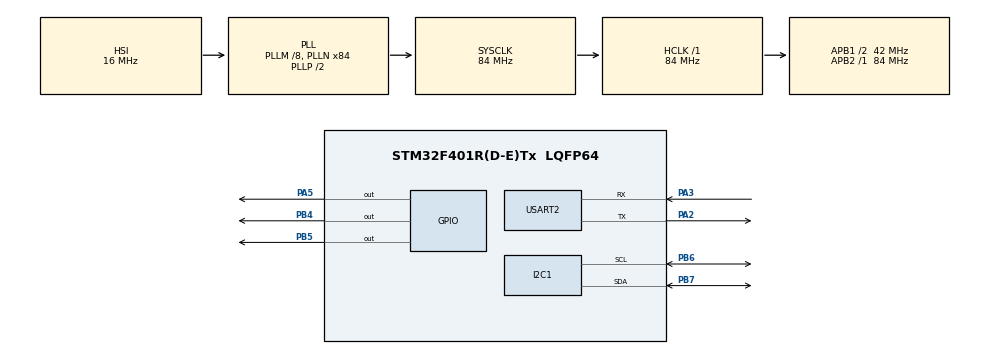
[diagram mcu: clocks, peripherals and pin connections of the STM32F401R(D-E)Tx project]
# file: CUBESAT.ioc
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FREERTOS.Tasks01=Idle_Mode,2,128,start_Idle_Mode,Default,NULL,Dynamic,NULL,NULL;Operation_mode,0,128,start_Operation_mode,Default,NULL,Dynamic,NULL,NULL;Emergency_Mode,1,128,start_Emergency_Mode,Default,NULL,Dynamic,NULL,NULL
FREERTOS.configUSE_NEWLIB_REENTRANT=1
Mcu.Family=STM32F4
Mcu.Name=STM32F401R(D-E)Tx
Mcu.Package=LQFP64
NVIC.PriorityGroup=NVIC_PRIORITYGROUP_4
NVIC.TIM4_IRQn=true\:15\:0\:false\:false\:true\:false\:false\:true\:true
NVIC.TimeBase=TIM4_IRQn
NVIC.TimeBaseIP=TIM4
NVIC.USART2_IRQn=true\:5\:0\:false\:false\:true\:true\:true\:true\:true
PA2.Mode=Asynchronous
PA2.Signal=USART2_TX
PA3.Mode=Asynchronous
PA3.Signal=USART2_RX
PA5.Signal=GPIO_Output
PB4.Signal=GPIO_Output
PB5.Signal=GPIO_Output
PB6.Mode=I2C
PB6.Signal=I2C1_SCL
PB7.Mode=I2C
PB7.Signal=I2C1_SDA
PH0\ -\ OSC_IN.Mode=HSE-External-Oscillator
PH0\ -\ OSC_IN.Signal=RCC_OSC_IN
PH1\ -\ OSC_OUT.Mode=HSE-External-Oscillator
PH1\ -\ OSC_OUT.Signal=RCC_OSC_OUT
ProjectManager.HeapSize=0x200
ProjectManager.StackSize=0x400
ProjectManager.TargetToolchain=STM32CubeIDE
RCC.48MHZClocksFreq_Value=42000000
RCC.AHBFreq_Value=84000000
RCC.APB1CLKDivider=RCC_HCLK_DIV2
RCC.APB1Freq_Value=42000000
RCC.APB1TimFreq_Value=84000000
RCC.APB2Freq_Value=84000000
RCC.APB2TimFreq_Value=84000000
RCC.CortexFreq_Value=84000000
RCC.HCLKFreq_Value=84000000
RCC.HSE_VALUE=8000000
RCC.HSI_VALUE=16000000
RCC.LSE_VALUE=32768
RCC.PLLM=8
RCC.PLLN=84
RCC.SYSCLKFreq_VALUE=84000000
RCC.SYSCLKSource=RCC_SYSCLKSOURCE_PLLCLK
RCC.VCOOutputFreq_Value=168000000
USART2.VirtualMode=VM_ASYNC
VP_FREERTOS_VS_CMSIS_V1.Mode=CMSIS_V1
VP_SYS_VS_tim4.Mode=TIM4
board=custom

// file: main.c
/* USER CODE BEGIN Header */
/**
  ******************************************************************************
  * @file           : main.c
  * @brief          : Main program body
  ******************************************************************************
  * @attention
  *
  * Copyright (c) 2024 STMicroelectronics.
  * All rights reserved.
  *
  * This software is licensed under terms that can be found in the LICENSE file
  * in the root directory of this software component.
  * If no LICENSE file comes with this software, it is provided AS-IS.
  *
  ******************************************************************************
  */
/* USER CODE END Header */
#include "main.h"
#include "cmsis_os.h"

/* USER CODE BEGIN Includes */
#include <stdio.h>
#include <stdlib.h>
#include "MPU6050.h"
#include "temperatureread.h"
#include "stm32f4xx_hal.h"
#include <string.h>
/* USER CODE END Includes */

I2C_HandleTypeDef hi2c1;

UART_HandleTypeDef huart2;

osThreadId Idle_ModeHandle;
osThreadId Operation_modeHandle;
osThreadId Emergency_ModeHandle;
/* USER CODE BEGIN PV */
	uint8_t tx_buffer[27]="waiting for command\n\r";
	uint8_t buffer[10];
/* USER CODE END PV */

void SystemClock_Config(void);
static void MX_GPIO_Init(void);
static void MX_I2C1_Init(void);
static void MX_USART2_UART_Init(void);
void start_Idle_Mode(void const * argument);
void start_Operation_mode(void const * argument);
void start_Emergency_Mode(void const * argument);

/* USER CODE BEGIN PFP */

#ifdef __GNUC__
#define PUTCHAR_PROTOTYPE int __io_putchar( int ch )
#else
#define PUTCHAR_PROTOTYPE int fputc( int ch, FILE *f )
#endif

PUTCHAR_PROTOTYPE
{
  /* e.g. write a character to the USART1 and Loop until the end of transmission */
  HAL_UART_Transmit(&huart2, (uint8_t *)&ch, 1, 0xFFFF);

  return ch;
}
/* USER CODE END PFP */

int main(void)
{

  /* USER CODE BEGIN 1 */
	vTaskSuspend(Operation_modeHandle);
	vTaskSuspend(Emergency_ModeHandle);

  /* USER CODE END 1 */

  /* MCU Configuration--------------------------------------------------------*/

  /* Reset of all peripherals, Initializes the Flash interface and the Systick. */
  HAL_Init();

  /* Configure the system clock */
  SystemClock_Config();

  /* Initialize all configured peripherals */
  MX_GPIO_Init();
  MX_I2C1_Init();
  MX_USART2_UART_Init();
  /* USER CODE BEGIN 2 */
  mpu6050_Setting();
  MPU_Setting();

  /* USER CODE END 2 */

  /* Create the thread(s) */
  /* definition and creation of Idle_Mode */
  osThreadDef(Idle_Mode, start_Idle_Mode, osPriorityHigh, 0, 128);
  Idle_ModeHandle = osThreadCreate(osThread(Idle_Mode), NULL);

  /* definition and creation of Operation_mode */
  osThreadDef(Operation_mode, start_Operation_mode, osPriorityNormal, 0, 128);
  Operation_modeHandle = osThreadCreate(osThread(Operation_mode), NULL);

  /* definition and creation of Emergency_Mode */
  osThreadDef(Emergency_Mode, start_Emergency_Mode, osPriorityAboveNormal, 0, 128);
  Emergency_ModeHandle = osThreadCreate(osThread(Emergency_Mode), NULL);

  /* Start scheduler */
  osKernelStart();

  /* We should never get here as control is now taken by the scheduler */

  /* Infinite loop */
  while (1)
  {

  }
}

void SystemClock_Config(void)
{
  RCC_OscInitTypeDef RCC_OscInitStruct = {0};
  RCC_ClkInitTypeDef RCC_ClkInitStruct = {0};

  /** Configure the main internal regulator output voltage
  */
  __HAL_RCC_PWR_CLK_ENABLE();
  __HAL_PWR_VOLTAGESCALING_CONFIG(PWR_REGULATOR_VOLTAGE_SCALE2);

  /** Initializes the RCC Oscillators according to the specified parameters
  * in the RCC_OscInitTypeDef structure.
  */
  RCC_OscInitStruct.OscillatorType = RCC_OSCILLATORTYPE_HSI;
  RCC_OscInitStruct.HSIState = RCC_HSI_ON;
  RCC_OscInitStruct.HSICalibrationValue = RCC_HSICALIBRATION_DEFAULT;
  RCC_OscInitStruct.PLL.PLLState = RCC_PLL_ON;
  RCC_OscInitStruct.PLL.PLLSource = RCC_PLLSOURCE_HSI;
  RCC_OscInitStruct.PLL.PLLM = 8;
  RCC_OscInitStruct.PLL.PLLN = 84;
  RCC_OscInitStruct.PLL.PLLP = RCC_PLLP_DIV2;
  RCC_OscInitStruct.PLL.PLLQ = 4;
  if (HAL_RCC_OscConfig(&RCC_OscInitStruct) != HAL_OK)
  {
    Error_Handler();
  }

  /** Initializes the CPU, AHB and APB buses clocks
  */
  RCC_ClkInitStruct.ClockType = RCC_CLOCKTYPE_HCLK|RCC_CLOCKTYPE_SYSCLK
                              |RCC_CLOCKTYPE_PCLK1|RCC_CLOCKTYPE_PCLK2;
  RCC_ClkInitStruct.SYSCLKSource = RCC_SYSCLKSOURCE_PLLCLK;
  RCC_ClkInitStruct.AHBCLKDivider = RCC_SYSCLK_DIV1;
  RCC_ClkInitStruct.APB1CLKDivider = RCC_HCLK_DIV2;
  RCC_ClkInitStruct.APB2CLKDivider = RCC_HCLK_DIV1;

  if (HAL_RCC_ClockConfig(&RCC_ClkInitStruct, FLASH_LATENCY_2) != HAL_OK)
  {
    Error_Handler();
  }
}

static void MX_I2C1_Init(void)
{

  hi2c1.Instance = I2C1;
  hi2c1.Init.ClockSpeed = 100000;
  hi2c1.Init.DutyCycle = I2C_DUTYCYCLE_2;
  hi2c1.Init.OwnAddress1 = 0;
  hi2c1.Init.AddressingMode = I2C_ADDRESSINGMODE_7BIT;
  hi2c1.Init.DualAddressMode = I2C_DUALADDRESS_DISABLE;
  hi2c1.Init.OwnAddress2 = 0;
  hi2c1.Init.GeneralCallMode = I2C_GENERALCALL_DISABLE;
  hi2c1.Init.NoStretchMode = I2C_NOSTRETCH_DISABLE;
  if (HAL_I2C_Init(&hi2c1) != HAL_OK)
  {
    Error_Handler();
  }

}

static void MX_USART2_UART_Init(void)
{

  huart2.Instance = USART2;
  huart2.Init.BaudRate = 115200;
  huart2.Init.WordLength = UART_WORDLENGTH_8B;
  huart2.Init.StopBits = UART_STOPBITS_1;
  huart2.Init.Parity = UART_PARITY_NONE;
  huart2.Init.Mode = UART_MODE_TX_RX;
  huart2.Init.HwFlowCtl = UART_HWCONTROL_NONE;
  huart2.Init.OverSampling = UART_OVERSAMPLING_16;
  if (HAL_UART_Init(&huart2) != HAL_OK)
  {
    Error_Handler();
  }

}

static void MX_GPIO_Init(void)
{
  GPIO_InitTypeDef GPIO_InitStruct = {0};

  /* GPIO Ports Clock Enable */
  __HAL_RCC_GPIOH_CLK_ENABLE();
  __HAL_RCC_GPIOA_CLK_ENABLE();
  __HAL_RCC_GPIOB_CLK_ENABLE();

  /*Configure GPIO pin Output Level */
  HAL_GPIO_WritePin(GPIOA, GPIO_PIN_5, GPIO_PIN_RESET);

  /*Configure GPIO pin Output Level */
  HAL_GPIO_WritePin(GPIOB, GPIO_PIN_4|GPIO_PIN_5, GPIO_PIN_RESET);

  /*Configure GPIO pin : PA5 */
  GPIO_InitStruct.Pin = GPIO_PIN_5;
  GPIO_InitStruct.Mode = GPIO_MODE_OUTPUT_PP;
  GPIO_InitStruct.Pull = GPIO_NOPULL;
  GPIO_InitStruct.Speed = GPIO_SPEED_FREQ_LOW;
  HAL_GPIO_Init(GPIOA, &GPIO_InitStruct);

  /*Configure GPIO pins : PB4 PB5 */
  GPIO_InitStruct.Pin = GPIO_PIN_4|GPIO_PIN_5;
  GPIO_InitStruct.Mode = GPIO_MODE_OUTPUT_PP;
  GPIO_InitStruct.Pull = GPIO_NOPULL;
  GPIO_InitStruct.Speed = GPIO_SPEED_FREQ_LOW;
  HAL_GPIO_Init(GPIOB, &GPIO_InitStruct);

}

void start_Idle_Mode(void const * argument)
{
  /* USER CODE BEGIN 5 */
  /* Infinite loop */
  for(;;)
  {
	HAL_UART_Transmit_IT(&huart2,tx_buffer, 27);
	uint8_t input=HAL_UART_Receive_IT(&huart2, buffer, 10);
	if (input == 1){
		vTaskResume(Operation_modeHandle);
		vTaskResume(Emergency_ModeHandle);
		printf("system initiated\n\r");
		HAL_Delay(500);
	}
	memset(buffer, 0, 10);

  }
  /* USER CODE END 5 */
}

void start_Operation_mode(void const * argument)
{
  /* USER CODE BEGIN start_Operation_mode */
  /* Infinite loop */
  for(;;)
  {
	  mpu6050_read();
	  printf("-------------- \r\n");
	  HAL_Delay(250);
  }
  /* USER CODE END start_Operation_mode */
}

void start_Emergency_Mode(void const * argument)
{
  /* USER CODE BEGIN start_Emergency_Mode */
  /* Infinite loop */
  for(;;)
  {
	  int16_t tempValue=MPU_temp_read();
	  printf("-------------- \r\n");
	  if (tempValue > 26){
		  vTaskSuspend(Operation_modeHandle);
		 printf("operation mode have been suspended\n\r");
		 HAL_Delay(500);
	  }
	  else{
		  vTaskResume(Operation_modeHandle);
		  printf("operation mode have been resumed\n\r");
		  HAL_Delay(500);
	  }
  }
  /* USER CODE END start_Emergency_Mode */
}

void HAL_TIM_PeriodElapsedCallback(TIM_HandleTypeDef *htim)
{
  if (htim->Instance == TIM4) {
    HAL_IncTick();
  }
}

void Error_Handler(void)
{
  __disable_irq();
  while (1)
  {
  }
}
